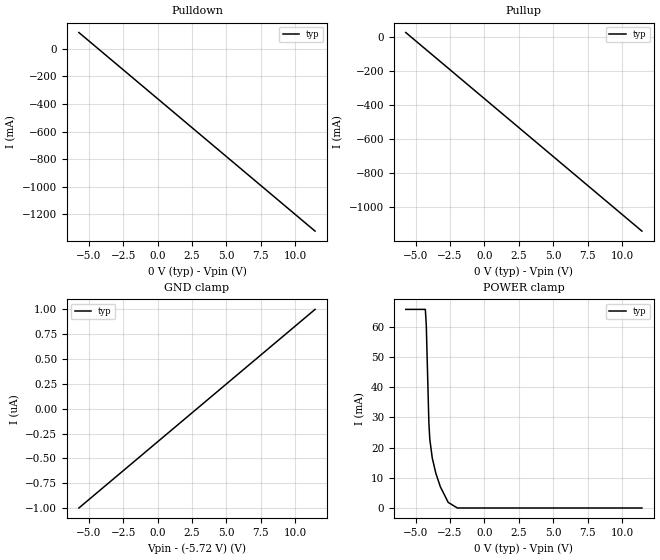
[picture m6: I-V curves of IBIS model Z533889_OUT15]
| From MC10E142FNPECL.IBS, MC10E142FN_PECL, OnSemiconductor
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| (C) COPYRIGHT 1993-2000
| MENTOR GRAPHICS CORPORATION
| ICX STANDARD LIBRARY, ICX PROJECT MODELING,
| ICX CUSTOM MODELING, ICX VENDOR MODEL
| ALL RIGHTS RESERVED.
| THE FOLLOWING ARE TRADEMARKS OR SERVICE MARKS OF
| MENTOR GRAPHICS CORPORATION:ICX (R), ICX STANDARD
| LIBRARY(R), ICX PROJECT MODELING(R), ICX CUSTOM
| MODELING(R), qualityIBIS(TM), MODELVIEWER(TM),
| AND MODELEDITOR(TM)
| ALL COPIES OF SOFTWARE, INCLUDING BUT NOT LIMITED TO
| ANY MODIFICATIONS, ENHANCEMENTS OR DERIVATIVE WORKS,
| MUST CONTAIN ALL MENTOR GRAPHICS CORPORATION'S
| NOTICES AND LEGENDS, INCLUDING THOSE EMBEDDED IN
| SOFTWARE AND THOSE AFFIXED TO SOFTWARE MEDIUM
| AND CONTAINER, AS RECEIVED FROM MENTOR GRAPHICS
| CORPORATION.
| Model Application Version 1.89 2/18/99.
[Model] Z533889_OUT15
Model_type Output_ECL
Vref=0.000V
Rref=500.0Mohms
Cref=50.00pF
Vmeas=3.620V
C_comp 8.000pF NA NA
| variable typ   min   max
[Voltage Range] -5.720V NA NA
[POWER Clamp Reference] 0.000V NA NA
[Pullup Reference] 0.000V NA NA
[Pulldown Reference] 0.000V NA NA
[GND Clamp Reference] -5.720V NA NA
[GND Clamp]
-5.72V    -1uA       NA         NA
11.44V    1uA        NA         NA
[Pulldown]
-5.72V    119.5mA    NA         NA
11.44V    -1.324A    NA         NA
[Pullup]
-5.72V    28.05mA    NA         NA
11.44V    -1.141A    NA         NA
[POWER Clamp]
-5.72V    65.72mA    NA         NA
-4.297V   65.72mA    NA         NA
-4.229V   60.58mA    NA         NA
-4.04V    28.14mA    NA         NA
-3.973V   22.72mA    NA         NA
-3.793V   16.51mA    NA         NA
-3.535V   11.49mA    NA         NA
-3.207V   7.031mA    NA         NA
-2.637V   1.858mA    NA         NA
-1.968V   0A         NA         NA
11.44V    0A         NA         NA
[Ramp]
| variable typ min max
dV/dt_r 567.5m/344.3p NA NA
dV/dt_f 567.5m/300.7p NA NA
R_load = 500.0Ohms
